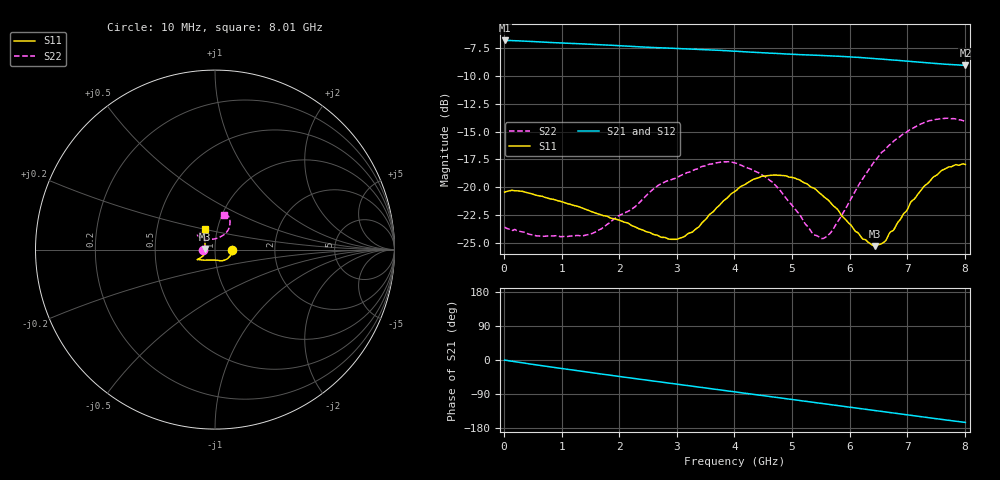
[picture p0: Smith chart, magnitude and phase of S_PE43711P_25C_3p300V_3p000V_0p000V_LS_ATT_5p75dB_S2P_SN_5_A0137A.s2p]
! Device ID: PE43711P
! File Path: z:\PE43711P\CHAR_NOM_04282014\AMB\3p300\LS_ATT_5p75dB\PE43711P_AMB_3p300V_3p000V_0p000V_LS_ATT_5p75dB_S2P_SN_5_A0137A.s2p
! Serial: 5
! Lot: A0137A
! Temp: 25C
! VDD: 3.300
! VSS: 0.000
! Control_Hi: 3.000
! Control_Lo: 0.000
! Attenuation Step: 5.75dB
! Port 1: RF1
! Port 2: RF2
! ThroughPath:1-2
! IDD: 0.0001279692
! ISS: -8.47e-008
#  Hz  S  RI  R  50
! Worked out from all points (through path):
!   801 points, 10 MHz to 8.01 GHz, reference 50 ohm
!   highest |S21| = -6.82 dB at 10 MHz (marker M1); lowest = -9.1 dB at 8.01 GHz (marker M2)
!   group delay of S21, straight-line fit = 56.7 ps
!   lowest |S11| = -25.3 dB at 6.44 GHz (marker M3), VSWR 1.12, Z = 44.9 + j0.331 ohm
!   |S11| at or under -10 dB: start of sweep to end of sweep
!   |S22| runs from -24.6 to -13.8 dB; largest |S21 - S12| = 0.0008
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1e7  0.0951 -0.000418  0.4559 -0.00224  0.456 -0.0025  -0.0662 0.000475
5.8e8  0.0851 -0.0344  0.4375 -0.1038  0.4377 -0.1038  -0.0604 0.00298
1.35e9  0.0563 -0.0579  0.3819 -0.2188  0.3823 -0.219  -0.0577 0.0181
2.2e9  0.0277 -0.0618  0.2892 -0.3169  0.2896 -0.3171  -0.0555 0.0564
2.68e9  0.0109 -0.0596  0.2283 -0.356  0.2285 -0.3563  -0.0602 0.0824
2.98e9  -0.00517 -0.0581  0.1877 -0.3755  0.1878 -0.3758  -0.0663 0.0874
3.26e9  -0.0227 -0.0584  0.148 -0.3892  0.1482 -0.3894  -0.0734 0.0928
3.68e9  -0.0546 -0.0589  0.0878 -0.4023  0.0877 -0.4025  -0.0888 0.093
4.01e9  -0.0771 -0.0569  0.0395 -0.406  0.0393 -0.4063  -0.0974 0.0839
4.34e9  -0.0935 -0.0557  -0.00773 -0.4033  -0.00783 -0.4036  -0.0929 0.0742
4.67e9  -0.0989 -0.0555  -0.0539 -0.3955  -0.054 -0.3956  -0.0811 0.0661
5.04e9  -0.0958 -0.0541  -0.1025 -0.3814  -0.1028 -0.3814  -0.0552 0.0587
5.35e9  -0.0871 -0.0484  -0.1423 -0.3651  -0.1424 -0.3655  -0.0265 0.0564
5.53e9  -0.08 -0.045  -0.1645 -0.3537  -0.1645 -0.3539  -0.0075 0.0584
5.67e9  -0.0744 -0.0416  -0.1815 -0.3438  -0.1817 -0.3439  0.00782 0.062
6.21e9  -0.0575 -0.0142  -0.2402 -0.2965  -0.2406 -0.2968  0.0581 0.0904
6.44e9  -0.0543 0.00367  -0.2614 -0.273  -0.2617 -0.2732  0.0728 0.1092
6.68e9  -0.0556 0.0261  -0.2805 -0.2473  -0.2805 -0.2476  0.0804 0.1314
7.08e9  -0.0604 0.0624  -0.3062 -0.2016  -0.3063 -0.2017  0.0825 0.1634
7.45e9  -0.0619 0.092  -0.3233 -0.1583  -0.3235 -0.1584  0.072 0.1872
7.7e9  -0.0619 0.106  -0.3319 -0.1292  -0.3319 -0.129  0.0606 0.1949
8.01e9  -0.0542 0.1143  -0.3399 -0.0932  -0.3402 -0.0925  0.05 0.1909
